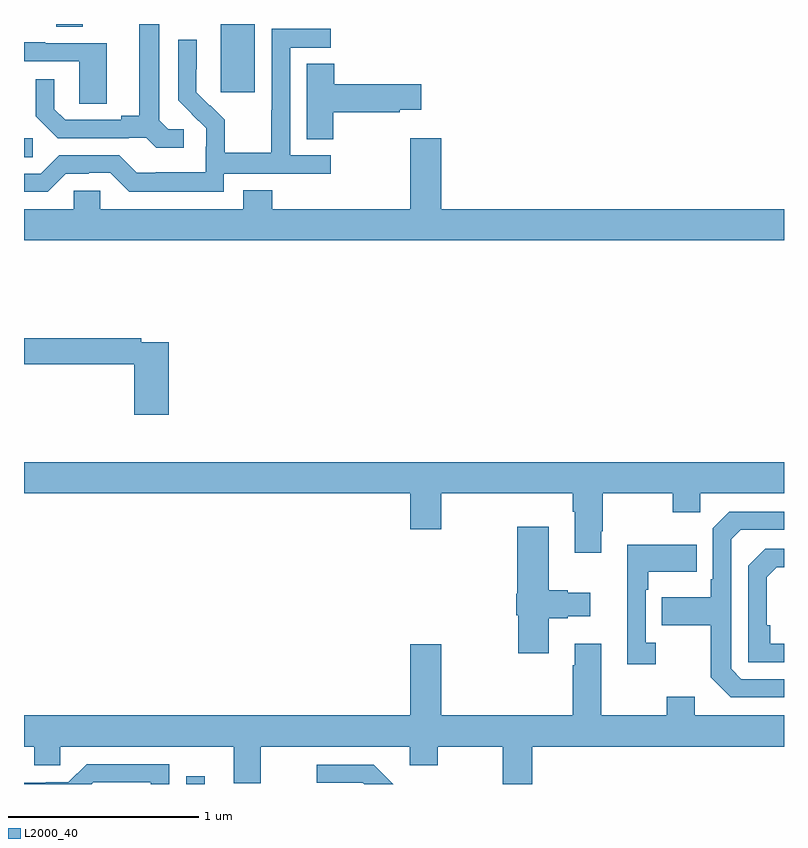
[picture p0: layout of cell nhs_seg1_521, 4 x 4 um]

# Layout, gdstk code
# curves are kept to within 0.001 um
import gdstk
lib = gdstk.Library(unit=1e-6, precision=1e-09)
def R(c, l, rs):  # rectangles x0, y0, x1, y1
    for r in rs: c.add(gdstk.rectangle(r[:2], r[2:], *l))
def P(c, l, *ps):  # polygons
    for p in ps: c.add(gdstk.Polygon(p, *l))
L2000_40 = (2000, 40)

nhs_seg1_521 = lib.new_cell('nhs_seg1_521')
R(nhs_seg1_521, L2000_40, [(139.855,554.199,139.951,554.239), (139,557.497,139.045,557.598), (140.036,557.841,140.215,558.199), (139.169,558.184,139.309,558.199)])
P(nhs_seg1_521, L2000_40, [(139.84,557.646),(139.758,557.646),(139.711,557.693),(139.711,558.199),(139.607,558.199),(139.607,557.717),(139.511,557.717),(139.511,557.694),(139.216,557.694),(139.159,557.751),(139.159,557.908),(139.062,557.908),(139.062,557.714),(139.178,557.598),(139.55,557.598),(139.55,557.601),(139.644,557.601),(139.696,557.549),(139.84,557.549)],
  [(140.052,557.412),(140.614,557.412),(140.614,557.508),(140.4,557.508),(140.4,558.075),(140.614,558.075),(140.614,558.174),(140.304,558.174),(140.304,557.744),(140.302,557.744),(140.302,557.521),(140.057,557.521),(140.057,557.695),(139.98,557.772),(139.977,557.769),(139.907,557.84),(139.908,558.116),(139.812,558.116),(139.812,557.798),(139.958,557.65),(139.958,557.553),(139.956,557.553),(139.956,557.419),(139.693,557.419),(139.693,557.415),(139.593,557.415),(139.5,557.508),(139.185,557.508),(139.089,557.412),(139,557.412),(139,557.316),(139.125,557.316),(139.221,557.412),(139.34,557.412),(139.34,557.415),(139.455,557.415),(139.555,557.315),(140.052,557.315)],
  [(139.435,558.099),(139.111,558.099),(139.111,558.103),(139,558.103),(139,558.003),(139.29,558.003),(139.29,557.779),(139.435,557.779)],
  [(140.628,557.735),(140.978,557.735),(140.978,557.747),(141.091,557.747),(141.091,557.882),(140.633,557.882),(140.633,557.99),(140.489,557.99),(140.489,557.593),(140.628,557.593)],
  [(143,557.224),(141.196,557.224),(141.196,557.599),(141.032,557.599),(141.032,557.224),(140.306,557.224),(140.306,557.323),(140.153,557.323),(140.153,557.224),(139.401,557.224),(139.401,557.322),(139.263,557.322),(139.263,557.224),(139,557.224),(139,557.06),(143,557.06)],
  [(139.763,556.524),(139.616,556.524),(139.616,556.544),(139,556.544),(139,556.408),(139.58,556.408),(139.58,556.143),(139.763,556.143)],
  [(142.039,555.529),(142.047,555.529),(142.047,555.728),(142.414,555.728),(142.414,555.629),(142.56,555.629),(142.56,555.728),(143,555.728),(143,555.892),(139,555.892),(139,555.728),(141.032,555.728),(141.032,555.54),(141.196,555.54),(141.196,555.728),(141.887,555.728),(141.887,555.632),(141.899,555.632),(141.899,555.417),(142.039,555.417)],
  [(143,554.751),(142.776,554.751),(142.722,554.805),(142.722,555.486),(142.773,555.537),(143,555.537),(143,555.633),(142.713,555.633),(142.626,555.546),(142.626,555.277),(142.614,555.277),(142.614,555.181),(142.357,555.181),(142.357,555.034),(142.614,555.034),(142.614,554.761),(142.719,554.655),(143,554.655)],
  [(141.763,555.071),(141.863,555.071),(141.863,555.083),(141.979,555.083),(141.979,555.205),(141.863,555.205),(141.863,555.218),(141.763,555.218),(141.763,555.553),(141.596,555.553),(141.596,555.201),(141.59,555.201),(141.59,555.087),(141.601,555.087),(141.601,554.886),(141.763,554.886)],
  [(142.324,554.942),(142.272,554.942),(142.272,555.221),(142.285,555.221),(142.285,555.317),(142.541,555.317),(142.541,555.457),(142.175,555.457),(142.175,554.829),(142.324,554.829)],
  [(143,554.937),(142.928,554.937),(142.928,555.034),(142.908,555.034),(142.908,555.288),(142.961,555.341),(143,555.341),(143,555.438),(142.902,555.438),(142.812,555.348),(142.812,554.841),(143,554.841)],
  [(141.674,554.396),(143,554.396),(143,554.56),(142.531,554.56),(142.531,554.659),(142.384,554.659),(142.384,554.56),(142.039,554.56),(142.039,554.938),(141.899,554.938),(141.899,554.825),(141.887,554.825),(141.887,554.56),(141.196,554.56),(141.196,554.935),(141.032,554.935),(141.032,554.56),(139,554.56),(139,554.396),(139.053,554.396),(139.053,554.298),(139.191,554.298),(139.191,554.396),(140.105,554.396),(140.105,554.202),(140.245,554.202),(140.245,554.396),(141.029,554.396),(141.029,554.297),(141.177,554.297),(141.177,554.396),(141.521,554.396),(141.521,554.199),(141.674,554.199)],
  [(139.365,554.208),(139.668,554.208),(139.668,554.199),(139.764,554.199),(139.764,554.304),(139.329,554.304),(139.233,554.208),(139.115,554.208),(139.115,554.205),(139,554.205),(139,554.199),(139.356,554.199)],
  [(140.841,554.301),(140.541,554.301),(140.541,554.205),(140.784,554.205),(140.79,554.199),(140.943,554.199)])

lib.write_gds('nhs_seg1_521.gds')
